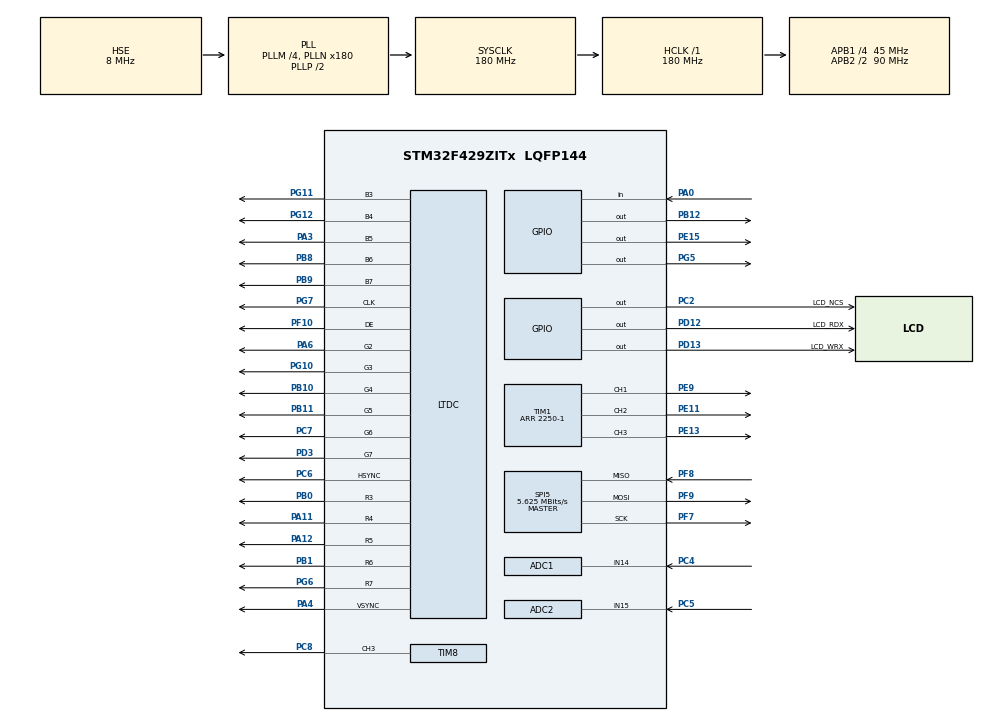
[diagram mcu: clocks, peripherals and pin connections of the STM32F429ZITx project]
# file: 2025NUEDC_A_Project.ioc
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ADC1.Channel-1\#ChannelRegularConversion=ADC_CHANNEL_14
ADC1.ClockPrescaler=ADC_CLOCK_SYNC_PCLK_DIV4
ADC1.DMAContinuousRequests=ENABLE
ADC1.ExternalTrigConv=ADC_EXTERNALTRIGCONV_T2_TRGO
ADC1.NbrOfConversionFlag=1
ADC1.Rank-1\#ChannelRegularConversion=1
ADC1.SamplingTime-1\#ChannelRegularConversion=ADC_SAMPLETIME_480CYCLES
ADC1.master=1
ADC2.Channel-3\#ChannelRegularConversion=ADC_CHANNEL_15
ADC2.ClockPrescaler=ADC_CLOCK_SYNC_PCLK_DIV4
ADC2.DMAContinuousRequests=ENABLE
ADC2.ExternalTrigConv=ADC_EXTERNALTRIGCONV_T2_TRGO
ADC2.NbrOfConversionFlag=1
ADC2.Rank-3\#ChannelRegularConversion=1
ADC2.SamplingTime-3\#ChannelRegularConversion=ADC_SAMPLETIME_480CYCLES
Dma.ADC1.3.Direction=DMA_PERIPH_TO_MEMORY
Dma.ADC1.3.FIFOMode=DMA_FIFOMODE_DISABLE
Dma.ADC1.3.Instance=DMA2_Stream0
Dma.ADC1.3.MemDataAlignment=DMA_MDATAALIGN_HALFWORD
Dma.ADC1.3.MemInc=DMA_MINC_ENABLE
Dma.ADC1.3.Mode=DMA_CIRCULAR
Dma.ADC1.3.PeriphDataAlignment=DMA_PDATAALIGN_HALFWORD
Dma.ADC1.3.PeriphInc=DMA_PINC_DISABLE
Dma.ADC1.3.Priority=DMA_PRIORITY_LOW
Dma.ADC2.4.Direction=DMA_PERIPH_TO_MEMORY
Dma.ADC2.4.FIFOMode=DMA_FIFOMODE_DISABLE
Dma.ADC2.4.Instance=DMA2_Stream3
Dma.ADC2.4.MemDataAlignment=DMA_MDATAALIGN_HALFWORD
Dma.ADC2.4.MemInc=DMA_MINC_ENABLE
Dma.ADC2.4.Mode=DMA_CIRCULAR
Dma.ADC2.4.PeriphDataAlignment=DMA_PDATAALIGN_HALFWORD
Dma.ADC2.4.PeriphInc=DMA_PINC_DISABLE
Dma.ADC2.4.Priority=DMA_PRIORITY_LOW
Dma.Request0=TIM1_CH1
Dma.Request1=TIM1_CH2
Dma.Request2=TIM1_CH3
Dma.Request3=ADC1
Dma.Request4=ADC2
Dma.TIM1_CH1.0.Direction=DMA_MEMORY_TO_PERIPH
Dma.TIM1_CH1.0.FIFOMode=DMA_FIFOMODE_DISABLE
Dma.TIM1_CH1.0.Instance=DMA2_Stream1
Dma.TIM1_CH1.0.MemDataAlignment=DMA_MDATAALIGN_HALFWORD
Dma.TIM1_CH1.0.MemInc=DMA_MINC_ENABLE
Dma.TIM1_CH1.0.Mode=DMA_CIRCULAR
Dma.TIM1_CH1.0.PeriphDataAlignment=DMA_PDATAALIGN_HALFWORD
Dma.TIM1_CH1.0.PeriphInc=DMA_PINC_DISABLE
Dma.TIM1_CH1.0.Priority=DMA_PRIORITY_VERY_HIGH
Dma.TIM1_CH2.1.Direction=DMA_MEMORY_TO_PERIPH
Dma.TIM1_CH2.1.FIFOMode=DMA_FIFOMODE_DISABLE
Dma.TIM1_CH2.1.Instance=DMA2_Stream2
Dma.TIM1_CH2.1.MemDataAlignment=DMA_MDATAALIGN_HALFWORD
Dma.TIM1_CH2.1.MemInc=DMA_MINC_ENABLE
Dma.TIM1_CH2.1.Mode=DMA_CIRCULAR
Dma.TIM1_CH2.1.PeriphDataAlignment=DMA_PDATAALIGN_HALFWORD
Dma.TIM1_CH2.1.PeriphInc=DMA_PINC_DISABLE
Dma.TIM1_CH2.1.Priority=DMA_PRIORITY_VERY_HIGH
Dma.TIM1_CH3.2.Direction=DMA_MEMORY_TO_PERIPH
Dma.TIM1_CH3.2.FIFOMode=DMA_FIFOMODE_DISABLE
Dma.TIM1_CH3.2.Instance=DMA2_Stream6
Dma.TIM1_CH3.2.MemDataAlignment=DMA_MDATAALIGN_HALFWORD
Dma.TIM1_CH3.2.MemInc=DMA_MINC_ENABLE
Dma.TIM1_CH3.2.Mode=DMA_CIRCULAR
Dma.TIM1_CH3.2.PeriphDataAlignment=DMA_PDATAALIGN_HALFWORD
Dma.TIM1_CH3.2.PeriphInc=DMA_PINC_DISABLE
Dma.TIM1_CH3.2.Priority=DMA_PRIORITY_VERY_HIGH
LTDC.ActiveH=160
LTDC.ActiveW=240
LTDC.Alpha_L0=255
LTDC.BlendingFactor1_L0=LTDC_BLENDING_FACTOR1_PAxCA
LTDC.BlendingFactor1_L1=LTDC_BLENDING_FACTOR1_PAxCA
LTDC.BlendingFactor2_L0=LTDC_BLENDING_FACTOR2_PAxCA
LTDC.BlendingFactor2_L1=LTDC_BLENDING_FACTOR2_PAxCA
LTDC.FBStartAdress_L0=(uint32_t)frameBuffer
LTDC.HBP=20
LTDC.HFP=10
LTDC.HSync=10
LTDC.ImageHeight_L0=320
LTDC.ImageWidth_L0=240
LTDC.Layers=0
LTDC.PixelFormat_L0=LTDC_PIXEL_FORMAT_RGB565
LTDC.VFP=4
LTDC.VSync=2
LTDC.WindowX0_L0=0
LTDC.WindowX1_L0=240
LTDC.WindowX1_L1=240
LTDC.WindowY0_L0=0
LTDC.WindowY1_L0=320
LTDC.WindowY1_L1=320
Mcu.Family=STM32F4
Mcu.Name=STM32F429ZITx
Mcu.Package=LQFP144
NVIC.DMA2_Stream0_IRQn=true\:0\:0\:false\:false\:true\:false\:true\:true
NVIC.DMA2_Stream1_IRQn=true\:0\:0\:false\:false\:true\:false\:true\:true
NVIC.DMA2_Stream2_IRQn=true\:0\:0\:false\:false\:true\:false\:true\:true
NVIC.DMA2_Stream3_IRQn=true\:0\:0\:false\:false\:true\:false\:true\:true
NVIC.DMA2_Stream6_IRQn=true\:0\:0\:false\:false\:true\:false\:true\:true
NVIC.PriorityGroup=NVIC_PRIORITYGROUP_4
PA0/WKUP.GPIO_PuPd=GPIO_PULLDOWN
PA0/WKUP.Signal=GPIO_Input
PA11.Mode=RGB565
PA11.Signal=LTDC_R4
PA12.Mode=RGB565
PA12.Signal=LTDC_R5
PA13.Mode=Serial_Wire
PA13.Signal=SYS_JTMS-SWDIO
PA14.Mode=Serial_Wire
PA14.Signal=SYS_JTCK-SWCLK
PA3.Mode=RGB565
PA3.Signal=LTDC_B5
PA4.Mode=RGB565
PA4.Signal=LTDC_VSYNC
PA6.Mode=RGB565
PA6.Signal=LTDC_G2
PB0.Mode=RGB565
PB0.Signal=LTDC_R3
PB1.Mode=RGB565
PB1.Signal=LTDC_R6
PB10.Mode=RGB565
PB10.Signal=LTDC_G4
PB11.Mode=RGB565
PB11.Signal=LTDC_G5
PB12.Signal=GPIO_Output
PB8.Mode=RGB565
PB8.Signal=LTDC_B6
PB9.Mode=RGB565
PB9.Signal=LTDC_B7
PC2.GPIO_Label=LCD_NCS
PC2.Signal=GPIO_Output
PC4.Signal=ADCx_IN14
PC5.Signal=ADCx_IN15
PC6.Mode=RGB565
PC6.Signal=LTDC_HSYNC
PC7.Mode=RGB565
PC7.Signal=LTDC_G6
PC8.Signal=S_TIM8_CH3
PD12.GPIO_Label=LCD_RDX
PD12.Signal=GPIO_Output
PD13.GPIO_Label=LCD_WRX
PD13.Signal=GPIO_Output
PD3.Mode=RGB565
PD3.Signal=LTDC_G7
PE11.Signal=S_TIM1_CH2
PE13.Signal=S_TIM1_CH3
PE15.PinState=GPIO_PIN_SET
PE15.Signal=GPIO_Output
PE9.Signal=S_TIM1_CH1
PF10.Mode=RGB565
PF10.Signal=LTDC_DE
PF7.Mode=Full_Duplex_Master
PF7.Signal=SPI5_SCK
PF8.Mode=Full_Duplex_Master
PF8.Signal=SPI5_MISO
PF9.Mode=Full_Duplex_Master
PF9.Signal=SPI5_MOSI
PG10.Mode=RGB565
PG10.Signal=LTDC_G3
PG11.Mode=RGB565
PG11.Signal=LTDC_B3
PG12.Mode=RGB565
PG12.Signal=LTDC_B4
PG5.PinState=GPIO_PIN_SET
PG5.Signal=GPIO_Output
PG6.Mode=RGB565
PG6.Signal=LTDC_R7
PG7.Mode=RGB565
PG7.Signal=LTDC_CLK
PH0/OSC_IN.Mode=HSE-External-Oscillator
PH0/OSC_IN.Signal=RCC_OSC_IN
PH1/OSC_OUT.Mode=HSE-External-Oscillator
PH1/OSC_OUT.Signal=RCC_OSC_OUT
ProjectManager.HeapSize=0x8000
ProjectManager.StackSize=0x400
ProjectManager.TargetToolchain=MDK-ARM V5.32
RCC.48MHZClocksFreq_Value=90000000
RCC.AHBFreq_Value=180000000
RCC.APB1CLKDivider=RCC_HCLK_DIV4
RCC.APB1Freq_Value=45000000
RCC.APB1TimFreq_Value=90000000
RCC.APB2CLKDivider=RCC_HCLK_DIV2
RCC.APB2Freq_Value=90000000
RCC.APB2TimFreq_Value=180000000
RCC.CortexFreq_Value=180000000
RCC.HCLKFreq_Value=180000000
RCC.HSE_VALUE=8000000
RCC.HSI_VALUE=16000000
RCC.LSE_VALUE=32768
RCC.PLLM=4
RCC.PLLN=180
RCC.PLLSAIDivR=RCC_PLLSAIDIVR_4
RCC.PLLSAIN=60
RCC.PLLSAIR=5
RCC.PLLSourceVirtual=RCC_PLLSOURCE_HSE
RCC.SYSCLKFreq_VALUE=180000000
RCC.SYSCLKSource=RCC_SYSCLKSOURCE_PLLCLK
RCC.VCOOutputFreq_Value=360000000
SH.ADCx_IN14.0=ADC1_IN14,IN14
SH.ADCx_IN15.0=ADC2_IN15,IN15
SH.S_TIM1_CH1.0=TIM1_CH1,PWM Generation1 CH1
SH.S_TIM1_CH2.0=TIM1_CH2,PWM Generation2 CH2
SH.S_TIM1_CH3.0=TIM1_CH3,PWM Generation3 CH3
SH.S_TIM8_CH3.0=TIM8_CH3,PWM Generation3 CH3
SPI5.BaudRatePrescaler=SPI_BAUDRATEPRESCALER_16
SPI5.CalculateBaudRate=5.625 MBits/s
SPI5.Direction=SPI_DIRECTION_2LINES
SPI5.Mode=SPI_MODE_MASTER
SPI5.VirtualType=VM_MASTER
TIM1.Channel-PWM\ Generation1\ CH1=TIM_CHANNEL_1
TIM1.Channel-PWM\ Generation2\ CH2=TIM_CHANNEL_2
TIM1.Channel-PWM\ Generation3\ CH3=TIM_CHANNEL_3
TIM1.Period=2250-1
TIM2.Period=9000-1
TIM2.TIM_MasterOutputTrigger=TIM_TRGO_UPDATE
TIM8.Channel-PWM\ Generation3\ CH3=TIM_CHANNEL_3
TIM8.OCIdleState_3=TIM_OCIDLESTATE_SET
TIM8.Period=1800-1
VP_TIM1_VS_ClockSourceINT.Mode=Internal
VP_TIM2_VS_ClockSourceINT.Mode=Internal
VP_TIM8_VS_ClockSourceINT.Mode=Internal
board=custom

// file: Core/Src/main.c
/* USER CODE BEGIN Header */
/**
  ******************************************************************************
  * @file           : main.c
  * @brief          : Main program body
  ******************************************************************************
  * @attention
  *
  * Copyright (c) 2025 STMicroelectronics.
  * All rights reserved.
  *
  * This software is licensed under terms that can be found in the LICENSE file
  * in the root directory of this software component.
  * If no LICENSE file comes with this software, it is provided AS-IS.
  *
  ******************************************************************************
  */
/* USER CODE END Header */
#include "main.h"
#include "adc.h"
#include "dma.h"
#include "ltdc.h"
#include "spi.h"
#include "tim.h"
#include "gpio.h"

/* USER CODE BEGIN Includes */

#include "spwm.h"
#include "volt.h"
#include "curr.h"
#include "ili9341.h"
#include "lcd.h"
#include "stm32f429i_discovery_lcd.h"
#include <string.h>
#include <stdio.h>

/* USER CODE END Includes */

/* USER CODE BEGIN PV */

uint8_t updateFlag;
SPWM_HandleTypeDef hspwm_u, hspwm_v, hspwm_w;
uint16_t volt_buffer[1000];
uint16_t curr_buffer[1000];

uint16_t frameBuffer[240*160];

float rms;
float output = 1.0f;
float target = 32.0f;
float curr_target = 1.0f;
uint32_t freq = 50;
float curr;
float output_curr = 0.15f;

/* USER CODE END PV */

void SystemClock_Config(void);

/* USER CODE BEGIN 0 */

void KeyScan()
{
	static uint32_t lastTime, addTime;
	static uint32_t cnt = 0;
	static uint32_t longPress;
	if(HAL_GetTick() - lastTime >= 10)
	{
		lastTime = HAL_GetTick();
		if(HAL_GPIO_ReadPin(GPIOA, GPIO_PIN_0) == GPIO_PIN_SET)
		{
			if(cnt < 2)
			{
				cnt++;
			}
			if(cnt == 2)
			{
				longPress++;
				if(longPress >= 200)
				{
					if(HAL_GetTick() - addTime >= 100)
					{
						addTime = HAL_GetTick();
						if(freq < 150)
							freq++;
					}
				}
			}
		}
		else
		{
			if(cnt == 2)
			{
				cnt = 3;
				freq++;
				if(freq > 150)
					freq = 20;
			}
			else
			{
				cnt = 0;
				longPress = 0;
			}
		}
	}
}

void LCD_Init()
{
	ili9341_Init();
	BSP_LCD_SetTextColor(0xFFFF);
	BSP_LCD_SetFont(&Font12);
}

void LCD_Refresh()
{
	static uint32_t lastTime;
	if(HAL_GetTick() - lastTime < 200)
		return;

	lastTime = HAL_GetTick();
	char str[64];
	snprintf(str, 64, "Volt: %.2f", rms);
	BSP_LCD_DisplayStringAt(0, 0, (uint8_t*)str, LEFT_MODE);
//	snprintf(str, 64, "Current: %.2f", curr);
//	BSP_LCD_DisplayStringAt(0, 14, (uint8_t*)str, LEFT_MODE);
	snprintf(str, 64, "Freq: %d Hz", freq);
	BSP_LCD_DisplayStringAt(0, 14, (uint8_t*)str, LEFT_MODE);
//	snprintf(str, 64, "SPWM Rate: %.2f", output);
//	BSP_LCD_DisplayStringAt(0, 42, (uint8_t*)str, LEFT_MODE);
//	snprintf(str, 64, "BOOST Duty: %.2f", output_curr);
//	BSP_LCD_DisplayStringAt(0, 56, (uint8_t*)str, LEFT_MODE);
}

/* USER CODE END 0 */

int main(void)
{

  /* MCU Configuration--------------------------------------------------------*/

  /* Reset of all peripherals, Initializes the Flash interface and the Systick. */
  HAL_Init();

  /* Configure the system clock */
  SystemClock_Config();

  /* Initialize all configured peripherals */
  MX_GPIO_Init();
  MX_DMA_Init();
  MX_TIM1_Init();
  MX_TIM8_Init();
  MX_ADC1_Init();
  MX_TIM2_Init();
  MX_ADC2_Init();
  MX_LTDC_Init();
  MX_SPI5_Init();
  /* USER CODE BEGIN 2 */
  SPWM_Init(&hspwm_u, PWM_MAX, freq, 0.0f);
  SPWM_Init(&hspwm_v, PWM_MAX, freq, 0.3333333f);
  SPWM_Init(&hspwm_w, PWM_MAX, freq, 0.6666666f);

  HAL_TIM_Base_Start(&htim8);
  __HAL_TIM_SetCompare(&htim8, TIM_CHANNEL_3, TIM8->ARR+1);
  HAL_TIM_PWM_Start(&htim8, TIM_CHANNEL_3);

  HAL_TIM_Base_Start(&htim1);
  HAL_TIM_PWM_Start_DMA(&htim1, TIM_CHANNEL_1, (uint32_t*)hspwm_u.array, hspwm_u.size);
  HAL_TIM_PWM_Start_DMA(&htim1, TIM_CHANNEL_2, (uint32_t*)hspwm_v.array, hspwm_v.size);
  HAL_TIM_PWM_Start_DMA(&htim1, TIM_CHANNEL_3, (uint32_t*)hspwm_w.array, hspwm_w.size);

  HAL_TIM_Base_Start(&htim2);
  HAL_ADC_Start_DMA(&hadc1, (uint32_t*)volt_buffer, 1000);
  HAL_ADC_Start_DMA(&hadc2, (uint32_t*)curr_buffer, 1000);

  LCD_Init();
  VOLT_Init();
  CURR_Init();
  /* USER CODE END 2 */

  /* Infinite loop */
  while (1)
  {

    /* USER CODE BEGIN 3 */
	  VOLT_Update();
	  CURR_Update();
	  SPWM_Update();
	  LCD_Refresh();
	  KeyScan();
  }
  /* USER CODE END 3 */
}

void SystemClock_Config(void)
{
  RCC_OscInitTypeDef RCC_OscInitStruct = {0};
  RCC_ClkInitTypeDef RCC_ClkInitStruct = {0};

  /** Configure the main internal regulator output voltage
  */
  __HAL_RCC_PWR_CLK_ENABLE();
  __HAL_PWR_VOLTAGESCALING_CONFIG(PWR_REGULATOR_VOLTAGE_SCALE1);

  /** Initializes the RCC Oscillators according to the specified parameters
  * in the RCC_OscInitTypeDef structure.
  */
  RCC_OscInitStruct.OscillatorType = RCC_OSCILLATORTYPE_HSE;
  RCC_OscInitStruct.HSEState = RCC_HSE_ON;
  RCC_OscInitStruct.PLL.PLLState = RCC_PLL_ON;
  RCC_OscInitStruct.PLL.PLLSource = RCC_PLLSOURCE_HSE;
  RCC_OscInitStruct.PLL.PLLM = 4;
  RCC_OscInitStruct.PLL.PLLN = 180;
  RCC_OscInitStruct.PLL.PLLP = RCC_PLLP_DIV2;
  RCC_OscInitStruct.PLL.PLLQ = 4;
  if (HAL_RCC_OscConfig(&RCC_OscInitStruct) != HAL_OK)
  {
    Error_Handler();
  }

  /** Activate the Over-Drive mode
  */
  if (HAL_PWREx_EnableOverDrive() != HAL_OK)
  {
    Error_Handler();
  }

  /** Initializes the CPU, AHB and APB buses clocks
  */
  RCC_ClkInitStruct.ClockType = RCC_CLOCKTYPE_HCLK|RCC_CLOCKTYPE_SYSCLK
                              |RCC_CLOCKTYPE_PCLK1|RCC_CLOCKTYPE_PCLK2;
  RCC_ClkInitStruct.SYSCLKSource = RCC_SYSCLKSOURCE_PLLCLK;
  RCC_ClkInitStruct.AHBCLKDivider = RCC_SYSCLK_DIV1;
  RCC_ClkInitStruct.APB1CLKDivider = RCC_HCLK_DIV4;
  RCC_ClkInitStruct.APB2CLKDivider = RCC_HCLK_DIV2;

  if (HAL_RCC_ClockConfig(&RCC_ClkInitStruct, FLASH_LATENCY_5) != HAL_OK)
  {
    Error_Handler();
  }
}

void Error_Handler(void)
{
  __disable_irq();
  while (1)
  {
  }
}
